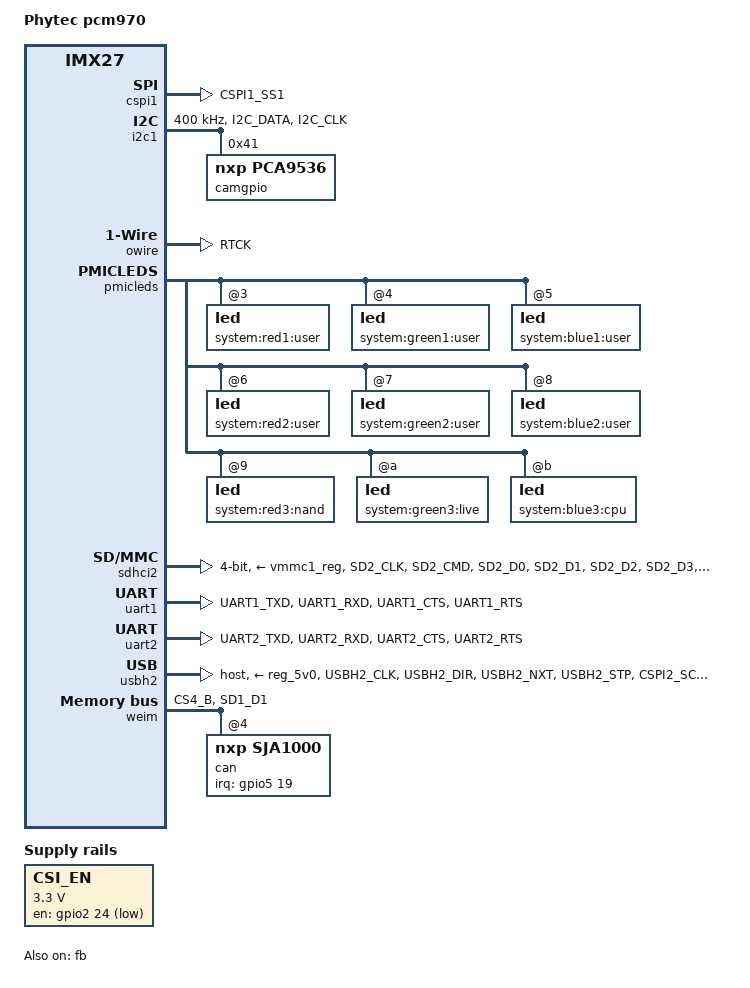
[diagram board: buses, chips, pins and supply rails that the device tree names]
// SPDX-License-Identifier: GPL-2.0-or-later
/*
 */

#include "imx27-phytec-phycore-som.dtsi"

/ {
	model = "Phytec pcm970";
	compatible = "phytec,imx27-pcm970", "phytec,imx27-pcm038", "fsl,imx27";

	chosen {
		stdout-path = &uart1;
	};

	display0: LQ035Q7 {
		model = "Sharp-LQ035Q7";
		bits-per-pixel = <16>;
		fsl,pcr = <0xf00080c0>;

		display-timings {
			native-mode = <&timing0>;
			timing0: timing0 {
				clock-frequency = <5500000>;
				hactive = <240>;
				vactive = <320>;
				hback-porch = <5>;
				hsync-len = <7>;
				hfront-porch = <16>;
				vback-porch = <7>;
				vsync-len = <1>;
				vfront-porch = <9>;
				pixelclk-active = <1>;
				hsync-active = <1>;
				vsync-active = <1>;
				de-active = <0>;
			};
		};
	};

	regulators {
		regulator@2 {
			compatible = "regulator-fixed";
			pinctrl-names = "default";
			pinctrl-0 = <&pinctrl_csien>;
			reg = <2>;
			regulator-name = "CSI_EN";
			regulator-min-microvolt = <3300000>;
			regulator-max-microvolt = <3300000>;
			gpio = <&gpio2 24 GPIO_ACTIVE_LOW>;
			regulator-always-on;
		};
	};

	usbphy {
		usbphy2: usbphy@2 {
			compatible = "usb-nop-xceiv";
			reg = <2>;
			vcc-supply = <&reg_5v0>;
			clocks = <&clks IMX27_CLK_DUMMY>;
			clock-names = "main_clk";
			#phy-cells = <0>;
		};
	};
};

&cspi1 {
	pinctrl-0 = <&pinctrl_cspi1>, <&pinctrl_cspi1cs1>;
	cs-gpios = <&gpio4 28 GPIO_ACTIVE_LOW>,
		   <&gpio4 27 GPIO_ACTIVE_LOW>;
};

&fb {
	pinctrl-names = "default";
	pinctrl-0 = <&pinctrl_imxfb1>;
	display = <&display0>;
	lcd-supply = <&reg_5v0>;
	fsl,dmacr = <0x00020010>;
	fsl,lscr1 = <0x00120300>;
	fsl,lpccr = <0x00a903ff>;
	status = "okay";
};

&i2c1 {
	clock-frequency = <400000>;
	pinctrl-names = "default";
	pinctrl-0 = <&pinctrl_i2c1>;
	status = "okay";

	camgpio: pca9536@41 {
		compatible = "nxp,pca9536";
		reg = <0x41>;
		gpio-controller;
		#gpio-cells = <2>;
	};
};

&iomuxc {
	imx27_phycore_rdk {
		pinctrl_csien: csiengrp {
			fsl,pins = <
				MX27_PAD_USB_OC_B__GPIO2_24 0x0
			>;
		};

		pinctrl_cspi1cs1: cspi1cs1grp {
			fsl,pins = <
				MX27_PAD_CSPI1_SS1__GPIO4_27 0x0
			>;
		};

		pinctrl_imxfb1: imxfbgrp {
			fsl,pins = <
				MX27_PAD_LD0__LD0 0x0
				MX27_PAD_LD1__LD1 0x0
				MX27_PAD_LD2__LD2 0x0
				MX27_PAD_LD3__LD3 0x0
				MX27_PAD_LD4__LD4 0x0
				MX27_PAD_LD5__LD5 0x0
				MX27_PAD_LD6__LD6 0x0
				MX27_PAD_LD7__LD7 0x0
				MX27_PAD_LD8__LD8 0x0
				MX27_PAD_LD9__LD9 0x0
				MX27_PAD_LD10__LD10 0x0
				MX27_PAD_LD11__LD11 0x0
				MX27_PAD_LD12__LD12 0x0
				MX27_PAD_LD13__LD13 0x0
				MX27_PAD_LD14__LD14 0x0
				MX27_PAD_LD15__LD15 0x0
				MX27_PAD_LD16__LD16 0x0
				MX27_PAD_LD17__LD17 0x0
				MX27_PAD_CLS__CLS 0x0
				MX27_PAD_CONTRAST__CONTRAST 0x0
				MX27_PAD_LSCLK__LSCLK 0x0
				MX27_PAD_OE_ACD__OE_ACD 0x0
				MX27_PAD_PS__PS 0x0
				MX27_PAD_REV__REV 0x0
				MX27_PAD_SPL_SPR__SPL_SPR 0x0
				MX27_PAD_HSYNC__HSYNC 0x0
				MX27_PAD_VSYNC__VSYNC 0x0
			>;
		};

		pinctrl_i2c1: i2c1grp {
			/* Add pullup to DATA line */
			fsl,pins = <
				MX27_PAD_I2C_DATA__I2C_DATA	0x1
				MX27_PAD_I2C_CLK__I2C_CLK	0x0
			>;
		};

		pinctrl_owire1: owire1grp {
			fsl,pins = <
				MX27_PAD_RTCK__OWIRE 0x0
			>;
		};

		pinctrl_sdhc2: sdhc2grp {
			fsl,pins = <
				MX27_PAD_SD2_CLK__SD2_CLK 0x0
				MX27_PAD_SD2_CMD__SD2_CMD 0x0
				MX27_PAD_SD2_D0__SD2_D0 0x0
				MX27_PAD_SD2_D1__SD2_D1 0x0
				MX27_PAD_SD2_D2__SD2_D2 0x0
				MX27_PAD_SD2_D3__SD2_D3 0x0
				MX27_PAD_SSI3_FS__GPIO3_28	0x0 /* WP */
				MX27_PAD_SSI3_RXDAT__GPIO3_29	0x0 /* CD */
			>;
		};

		pinctrl_uart1: uart1grp {
			fsl,pins = <
				MX27_PAD_UART1_TXD__UART1_TXD 0x0
				MX27_PAD_UART1_RXD__UART1_RXD 0x0
				MX27_PAD_UART1_CTS__UART1_CTS 0x0
				MX27_PAD_UART1_RTS__UART1_RTS 0x0
			>;
		};

		pinctrl_uart2: uart2grp {
			fsl,pins = <
				MX27_PAD_UART2_TXD__UART2_TXD 0x0
				MX27_PAD_UART2_RXD__UART2_RXD 0x0
				MX27_PAD_UART2_CTS__UART2_CTS 0x0
				MX27_PAD_UART2_RTS__UART2_RTS 0x0
			>;
		};

		pinctrl_usbh2: usbh2grp {
			fsl,pins = <
				MX27_PAD_USBH2_CLK__USBH2_CLK 0x0
				MX27_PAD_USBH2_DIR__USBH2_DIR 0x0
				MX27_PAD_USBH2_NXT__USBH2_NXT 0x0
				MX27_PAD_USBH2_STP__USBH2_STP 0x0
				MX27_PAD_CSPI2_SCLK__USBH2_DATA0 0x0
				MX27_PAD_CSPI2_MOSI__USBH2_DATA1 0x0
				MX27_PAD_CSPI2_MISO__USBH2_DATA2 0x0
				MX27_PAD_CSPI2_SS1__USBH2_DATA3 0x0
				MX27_PAD_CSPI2_SS2__USBH2_DATA4 0x0
				MX27_PAD_CSPI1_SS2__USBH2_DATA5 0x0
				MX27_PAD_CSPI2_SS0__USBH2_DATA6 0x0
				MX27_PAD_USBH2_DATA7__USBH2_DATA7 0x0
			>;
		};

		pinctrl_weim: weimgrp {
			fsl,pins = <
				MX27_PAD_CS4_B__CS4_B		0x0 /* CS4 */
				MX27_PAD_SD1_D1__GPIO5_19	0x0 /* CAN IRQ */
			>;
		};
	};
};

&owire {
	pinctrl-names = "default";
	pinctrl-0 = <&pinctrl_owire1>;
	status = "okay";
};

&pmicleds {
	ledr1: led@3 {
		reg = <3>;
		label = "system:red1:user";
	};

	ledg1: led@4 {
		reg = <4>;
		label = "system:green1:user";
	};

	ledb1: led@5 {
		reg = <5>;
		label = "system:blue1:user";
	};

	ledr2: led@6 {
		reg = <6>;
		label = "system:red2:user";
	};

	ledg2: led@7 {
		reg = <7>;
		label = "system:green2:user";
	};

	ledb2: led@8 {
		reg = <8>;
		label = "system:blue2:user";
	};

	ledr3: led@9 {
		reg = <9>;
		label = "system:red3:nand";
		linux,default-trigger = "nand-disk";
	};

	ledg3: led@10 {
		reg = <10>;
		label = "system:green3:live";
		linux,default-trigger = "heartbeat";
	};

	ledb3: led@11 {
		reg = <11>;
		label = "system:blue3:cpu";
		linux,default-trigger = "cpu0";
	};
};

&sdhci2 {
	pinctrl-names = "default";
	pinctrl-0 = <&pinctrl_sdhc2>;
	bus-width = <4>;
	cd-gpios = <&gpio3 29 GPIO_ACTIVE_HIGH>;
	wp-gpios = <&gpio3 28 GPIO_ACTIVE_HIGH>;
	vmmc-supply = <&vmmc1_reg>;
	status = "okay";
};

&uart1 {
	uart-has-rtscts;
	pinctrl-names = "default";
	pinctrl-0 = <&pinctrl_uart1>;
	status = "okay";
};

&uart2 {
	uart-has-rtscts;
	pinctrl-names = "default";
	pinctrl-0 = <&pinctrl_uart2>;
	status = "okay";
};

&usbh2 {
	pinctrl-names = "default";
	pinctrl-0 = <&pinctrl_usbh2>;
	dr_mode = "host";
	phy_type = "ulpi";
	vbus-supply = <&reg_5v0>;
	fsl,usbphy = <&usbphy2>;
	disable-over-current;
	status = "okay";
};

&weim {
	pinctrl-names = "default";
	pinctrl-0 = <&pinctrl_weim>;

	can@4,0 {
		compatible = "nxp,sja1000";
		reg = <4 0x00000000 0x00000100>;
		interrupt-parent = <&gpio5>;
		interrupts = <19 IRQ_TYPE_EDGE_FALLING>;
		nxp,external-clock-frequency = <16000000>;
		nxp,tx-output-config = <0x16>;
		nxp,no-comparator-bypass;
		fsl,weim-cs-timing = <0x0000dcf6 0x444a0301 0x44443302>;
	};
};
